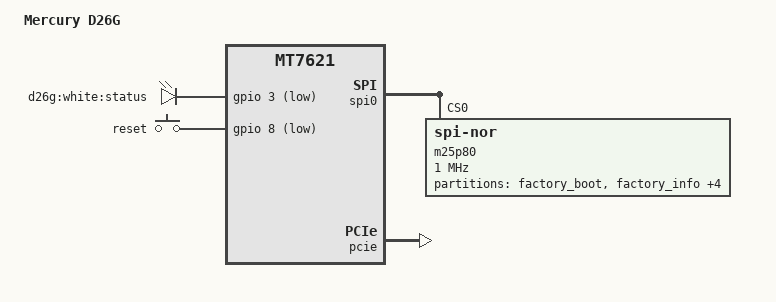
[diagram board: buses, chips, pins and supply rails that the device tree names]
/dts-v1/;

#include "mt7621.dtsi"

#include <dt-bindings/gpio/gpio.h>
#include <dt-bindings/input/input.h>

/ {
	compatible = "mercury,d26g", "mediatek,mt7621-soc";
	model = "Mercury D26G";

	aliases {
		led-boot = &led_status;
		led-failsafe = &led_status;
		led-running = &led_status;
		led-upgrade = &led_status;
	};

	chosen {
		bootargs = "console=ttyS0,57600";
	};

	leds {
		compatible = "gpio-leds";

		led_status: status {
			label = "d26g:white:status";
			gpios = <&gpio 3 GPIO_ACTIVE_LOW>;
		};
	};

	keys {
		compatible = "gpio-keys";

		reset {
			label = "reset";
			gpios = <&gpio 8 GPIO_ACTIVE_LOW>;
			linux,code = <KEY_RESTART>;
		};
	};
};

&spi0 {
	status = "okay";

	m25p80@0  {
		compatible = "jedec,spi-nor";
		reg = <0>;
		spi-max-frequency = <1000000>;

		partitions {
			compatible = "fixed-partitions";
			#address-cells = <1>;
			#size-cells = <1>;

			partition@0 {
				label = "factory_boot";
				reg = <0x0 0x1d800>;
				read-only;
			};

			factory_info: partition@1d800 {
				label = "factory_info";
				reg = <0x1d800 0x800>;
				read-only;
			};

			art: partition@1e000 {
				label = "art";
				reg = <0x1e000 0x2000>;
				read-only;
			};

			partition@20000 {
				label = "config";
				reg = <0x20000 0x10000>;
				read-only;
			};

			partition@30000 {
				label = "normal_boot";
				reg = <0x30000 0x20000>;
				read-only;
			};

			partition@50000 {
				compatible = "denx,uimage";
				label = "firmware";
				reg = <0x50000 0xfb0000>;
			};

		};
	};
};

&pcie {
	status = "okay";
};

&pcie0 {
	mt76@0,0 {
		reg = <0x0000 0 0 0 0>;
		mediatek,mtd-eeprom = <&art 0>;
		mtd-mac-address = <&factory_info 0xd>;
		ieee80211-freq-limit = <2400000 2500000>;
	};
};

&pcie1 {
	mt76@0,0 {
		reg = <0x0000 0 0 0 0>;
		mediatek,mtd-eeprom = <&art 0x1000>;
		mtd-mac-address = <&factory_info 0xd>;
		mtd-mac-address-increment = <2>;
		ieee80211-freq-limit = <5000000 6000000>;
	};
};

&gmac0 {
	mtd-mac-address = <&factory_info 0xd>;
};


&switch0 {
	ports {
		port@0 {
			status = "okay";
			label = "wan";
			mtd-mac-address = <&factory_info 0xd>;
			mtd-mac-address-increment = <1>;
		};

		port@2 {
			status = "okay";
			label = "lan1";
		};

		port@3 {
			status = "okay";
			label = "lan2";
		};

		port@4 {
			status = "okay";
			label = "lan3";
		};
	};
};

&state_default {
	gpio {
		groups = "jtag", "uart2", "uart3", "wdt";
		function = "gpio";
	};
};

